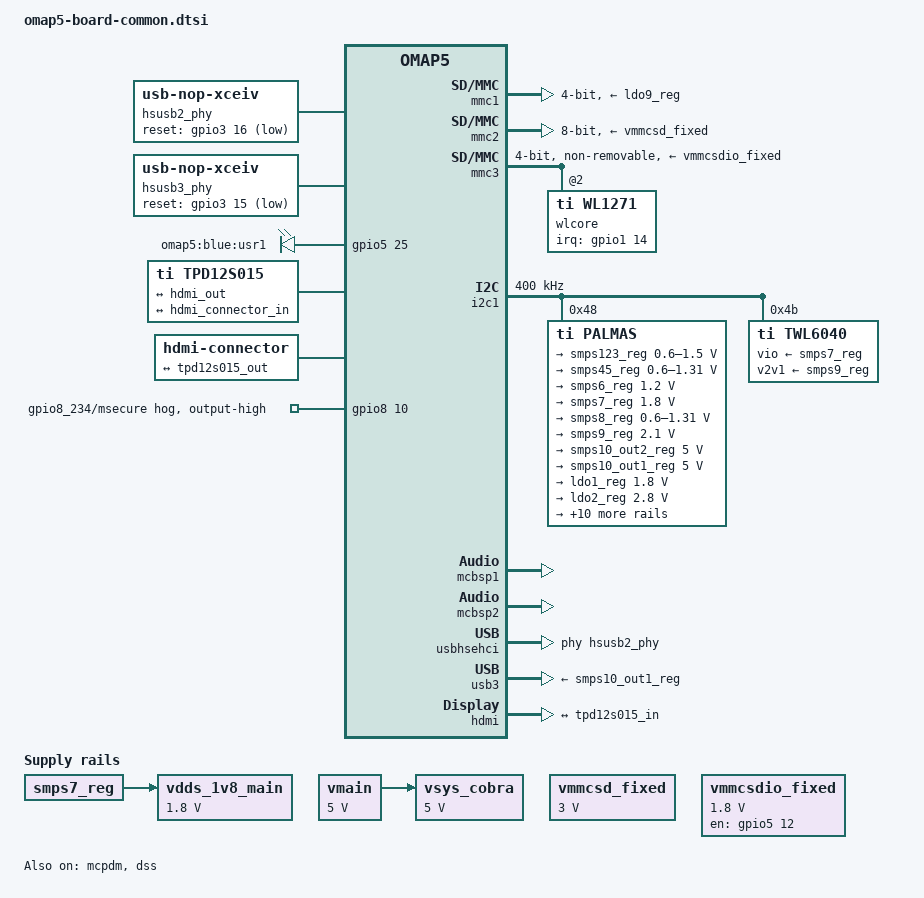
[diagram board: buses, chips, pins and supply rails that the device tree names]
/*
 * Copyright (C) 2013 Texas Instruments Incorporated - http://www.ti.com/
 *
 * This program is free software; you can redistribute it and/or modify
 * it under the terms of the GNU General Public License version 2 as
 * published by the Free Software Foundation.
 */
#include "omap5.dtsi"
#include <dt-bindings/interrupt-controller/irq.h>
#include <dt-bindings/interrupt-controller/arm-gic.h>

/ {
	aliases {
		display0 = &hdmi0;
	};

	vmain: fixedregulator-vmain {
		compatible = "regulator-fixed";
		regulator-name = "vmain";
		regulator-min-microvolt = <5000000>;
		regulator-max-microvolt = <5000000>;
	};

	vsys_cobra: fixedregulator-vsys_cobra {
		compatible = "regulator-fixed";
		regulator-name = "vsys_cobra";
		vin-supply = <&vmain>;
		regulator-min-microvolt = <5000000>;
		regulator-max-microvolt = <5000000>;
	};

	vdds_1v8_main: fixedregulator-vdds_1v8_main {
		compatible = "regulator-fixed";
		regulator-name = "vdds_1v8_main";
		vin-supply = <&smps7_reg>;
		regulator-min-microvolt = <1800000>;
		regulator-max-microvolt = <1800000>;
	};

	vmmcsd_fixed: fixedregulator-mmcsd {
		compatible = "regulator-fixed";
		regulator-name = "vmmcsd_fixed";
		regulator-min-microvolt = <3000000>;
		regulator-max-microvolt = <3000000>;
	};

	mmc3_pwrseq: sdhci0_pwrseq {
		compatible = "mmc-pwrseq-simple";
		clocks = <&clk32kgaudio>;
		clock-names = "ext_clock";
	};

	vmmcsdio_fixed: fixedregulator-mmcsdio {
		compatible = "regulator-fixed";
		regulator-name = "vmmcsdio_fixed";
		regulator-min-microvolt = <1800000>;
		regulator-max-microvolt = <1800000>;
		gpio = <&gpio5 12 GPIO_ACTIVE_HIGH>;	/* gpio140 WLAN_EN */
		enable-active-high;
		startup-delay-us = <70000>;
		pinctrl-names = "default";
		pinctrl-0 = <&wlan_pins>;
	};

	/* HS USB Host PHY on PORT 2 */
	hsusb2_phy: hsusb2_phy {
		compatible = "usb-nop-xceiv";
		reset-gpios = <&gpio3 16 GPIO_ACTIVE_LOW>; /* gpio3_80 HUB_NRESET */
		clocks = <&auxclk1_ck>;
		clock-names = "main_clk";
		clock-frequency = <19200000>;
	};

	/* HS USB Host PHY on PORT 3 */
	hsusb3_phy: hsusb3_phy {
		compatible = "usb-nop-xceiv";
		reset-gpios = <&gpio3 15 GPIO_ACTIVE_LOW>; /* gpio3_79 ETH_NRESET */
	};

	leds {
		compatible = "gpio-leds";
		led@1 {
			label = "omap5:blue:usr1";
			gpios = <&gpio5 25 GPIO_ACTIVE_HIGH>; /* gpio5_153 D1 LED */
			linux,default-trigger = "heartbeat";
			default-state = "off";
		};
	};

	tpd12s015: encoder@0 {
		compatible = "ti,tpd12s015";

		pinctrl-names = "default";
		pinctrl-0 = <&tpd12s015_pins>;

		/* gpios defined in the board specific dts */

		ports {
			#address-cells = <1>;
			#size-cells = <0>;

			port@0 {
				reg = <0>;

				tpd12s015_in: endpoint@0 {
					remote-endpoint = <&hdmi_out>;
				};
			};

			port@1 {
				reg = <1>;

				tpd12s015_out: endpoint@0 {
					remote-endpoint = <&hdmi_connector_in>;
				};
			};
		};
	};

	hdmi0: connector@0 {
		compatible = "hdmi-connector";
		label = "hdmi";

		type = "b";

		port {
			hdmi_connector_in: endpoint {
				remote-endpoint = <&tpd12s015_out>;
			};
		};
	};

	sound: sound {
		compatible = "ti,abe-twl6040";
		ti,model = "omap5-uevm";

		ti,mclk-freq = <19200000>;

		ti,mcpdm = <&mcpdm>;

		ti,twl6040 = <&twl6040>;

		/* Audio routing */
		ti,audio-routing =
			"Headset Stereophone", "HSOL",
			"Headset Stereophone", "HSOR",
			"Line Out", "AUXL",
			"Line Out", "AUXR",
			"HSMIC", "Headset Mic",
			"Headset Mic", "Headset Mic Bias",
			"AFML", "Line In",
			"AFMR", "Line In";
	};
};

&gpio8 {
	/* TI trees use GPIO instead of msecure, see also muxing */
	p234 {
		gpio-hog;
		gpios = <10 GPIO_ACTIVE_HIGH>;
		output-high;
		line-name = "gpio8_234/msecure";
	};
};

&omap5_pmx_core {
	pinctrl-names = "default";
	pinctrl-0 = <
			&usbhost_pins
			&led_gpio_pins
	>;

	twl6040_pins: pinmux_twl6040_pins {
		pinctrl-single,pins = <
			OMAP5_IOPAD(0x1be, PIN_OUTPUT | MUX_MODE6)	/* mcspi1_somi.gpio5_141 */
		>;
	};

	mcpdm_pins: pinmux_mcpdm_pins {
		pinctrl-single,pins = <
			OMAP5_IOPAD(0x182, PIN_INPUT_PULLDOWN | MUX_MODE0)	/* abe_clks.abe_clks */
			OMAP5_IOPAD(0x19c, PIN_INPUT_PULLDOWN | MUX_MODE0)	/* abemcpdm_ul_data.abemcpdm_ul_data */
			OMAP5_IOPAD(0x19e, PIN_INPUT_PULLDOWN | MUX_MODE0)	/* abemcpdm_dl_data.abemcpdm_dl_data */
			OMAP5_IOPAD(0x1a0, PIN_INPUT_PULLUP | MUX_MODE0)	/* abemcpdm_frame.abemcpdm_frame */
			OMAP5_IOPAD(0x1a2, PIN_INPUT_PULLDOWN | MUX_MODE0)	/* abemcpdm_lb_clk.abemcpdm_lb_clk */
		>;
	};

	mcbsp1_pins: pinmux_mcbsp1_pins {
		pinctrl-single,pins = <
			OMAP5_IOPAD(0x18c, PIN_INPUT | MUX_MODE1)		/* abedmic_clk2.abemcbsp1_fsx */
			OMAP5_IOPAD(0x18e, PIN_OUTPUT_PULLDOWN | MUX_MODE1)	/* abedmic_clk3.abemcbsp1_dx */
			OMAP5_IOPAD(0x190, PIN_INPUT | MUX_MODE1)		/* abeslimbus1_clock.abemcbsp1_clkx */
			OMAP5_IOPAD(0x192, PIN_INPUT_PULLDOWN | MUX_MODE1)	/* abeslimbus1_data.abemcbsp1_dr */
		>;
	};

	mcbsp2_pins: pinmux_mcbsp2_pins {
		pinctrl-single,pins = <
			OMAP5_IOPAD(0x194, PIN_INPUT_PULLDOWN | MUX_MODE0)	/* abemcbsp2_dr.abemcbsp2_dr */
			OMAP5_IOPAD(0x196, PIN_OUTPUT_PULLDOWN | MUX_MODE0)	/* abemcbsp2_dx.abemcbsp2_dx */
			OMAP5_IOPAD(0x198, PIN_INPUT | MUX_MODE0)		/* abemcbsp2_fsx.abemcbsp2_fsx */
			OMAP5_IOPAD(0x19a, PIN_INPUT | MUX_MODE0)		/* abemcbsp2_clkx.abemcbsp2_clkx */
		>;
	};

	i2c1_pins: pinmux_i2c1_pins {
		pinctrl-single,pins = <
			OMAP5_IOPAD(0x1f2, PIN_INPUT_PULLUP | MUX_MODE0)	/* i2c1_scl */
			OMAP5_IOPAD(0x1f4, PIN_INPUT_PULLUP | MUX_MODE0)	/* i2c1_sda */
		>;
	};

	mcspi2_pins: pinmux_mcspi2_pins {
		pinctrl-single,pins = <
			OMAP5_IOPAD(0x0fc, PIN_INPUT | MUX_MODE0)		/*  mcspi2_clk */
			OMAP5_IOPAD(0x0fe, PIN_INPUT | MUX_MODE0)		/*  mcspi2_simo */
			OMAP5_IOPAD(0x100, PIN_INPUT_PULLUP | MUX_MODE0)	/*  mcspi2_somi */
			OMAP5_IOPAD(0x102, PIN_OUTPUT | MUX_MODE0)		/*  mcspi2_cs0 */
		>;
	};

	mcspi3_pins: pinmux_mcspi3_pins {
		pinctrl-single,pins = <
			OMAP5_IOPAD(0x0b8, PIN_INPUT | MUX_MODE1)		/*  mcspi3_somi */
			OMAP5_IOPAD(0x0ba, PIN_INPUT | MUX_MODE1)		/*  mcspi3_cs0 */
			OMAP5_IOPAD(0x0bc, PIN_INPUT | MUX_MODE1)		/*  mcspi3_simo */
			OMAP5_IOPAD(0x0be, PIN_INPUT | MUX_MODE1)		/*  mcspi3_clk */
		>;
	};

	mmc3_pins: pinmux_mmc3_pins {
		pinctrl-single,pins = <
			OMAP5_IOPAD(0x01a4, PIN_INPUT_PULLUP | MUX_MODE0) /* wlsdio_clk */
			OMAP5_IOPAD(0x01a6, PIN_INPUT_PULLUP | MUX_MODE0) /* wlsdio_cmd */
			OMAP5_IOPAD(0x01a8, PIN_INPUT_PULLUP | MUX_MODE0) /* wlsdio_data0 */
			OMAP5_IOPAD(0x01aa, PIN_INPUT_PULLUP | MUX_MODE0) /* wlsdio_data1 */
			OMAP5_IOPAD(0x01ac, PIN_INPUT_PULLUP | MUX_MODE0) /* wlsdio_data2 */
			OMAP5_IOPAD(0x01ae, PIN_INPUT_PULLUP | MUX_MODE0) /* wlsdio_data3 */
		>;
	};

	wlan_pins: pinmux_wlan_pins {
		pinctrl-single,pins = <
			OMAP5_IOPAD(0x1bc, PIN_OUTPUT | MUX_MODE6) /* mcspi1_clk.gpio5_140 */
		>;
	};

	/* TI trees use GPIO mode; msecure mode does not work reliably? */
	palmas_msecure_pins: palmas_msecure_pins {
		pinctrl-single,pins = <
			OMAP5_IOPAD(0x180, PIN_OUTPUT | MUX_MODE6) /* gpio8_234 */
		>;
	};

	usbhost_pins: pinmux_usbhost_pins {
		pinctrl-single,pins = <
			OMAP5_IOPAD(0x0c4, PIN_INPUT | MUX_MODE0) /* usbb2_hsic_strobe */
			OMAP5_IOPAD(0x0c6, PIN_INPUT | MUX_MODE0) /* usbb2_hsic_data */

			OMAP5_IOPAD(0x1de, PIN_INPUT | MUX_MODE0) /* usbb3_hsic_strobe */
			OMAP5_IOPAD(0x1e0, PIN_INPUT | MUX_MODE0) /* usbb3_hsic_data */

			OMAP5_IOPAD(0x0b0, PIN_OUTPUT | MUX_MODE6) /* gpio3_80 HUB_NRESET */
			OMAP5_IOPAD(0x0ae, PIN_OUTPUT | MUX_MODE6) /* gpio3_79 ETH_NRESET */
		>;
	};

	led_gpio_pins: pinmux_led_gpio_pins {
		pinctrl-single,pins = <
			OMAP5_IOPAD(0x1d6, PIN_OUTPUT | MUX_MODE6) /* uart3_cts_rctx.gpio5_153 */
		>;
	};

	uart1_pins: pinmux_uart1_pins {
		pinctrl-single,pins = <
			OMAP5_IOPAD(0x0a0, PIN_OUTPUT | MUX_MODE0) /* uart1_tx.uart1_cts */
			OMAP5_IOPAD(0x0a2, PIN_INPUT_PULLUP | MUX_MODE0) /* uart1_tx.uart1_cts */
			OMAP5_IOPAD(0x0a4, PIN_INPUT_PULLUP | MUX_MODE0) /* uart1_rx.uart1_rts */
			OMAP5_IOPAD(0x0a6, PIN_OUTPUT | MUX_MODE0) /* uart1_rx.uart1_rts */
		>;
	};

	uart3_pins: pinmux_uart3_pins {
		pinctrl-single,pins = <
			OMAP5_IOPAD(0x1da, PIN_OUTPUT | MUX_MODE0) /* uart3_rts_irsd.uart3_tx_irtx */
			OMAP5_IOPAD(0x1dc, PIN_INPUT_PULLUP | MUX_MODE0) /* uart3_rx_irrx.uart3_usbb3_hsic */
		>;
	};

	uart5_pins: pinmux_uart5_pins {
		pinctrl-single,pins = <
			OMAP5_IOPAD(0x1b0, PIN_INPUT_PULLUP | MUX_MODE0) /* uart5_rx.uart5_rx */
			OMAP5_IOPAD(0x1b2, PIN_OUTPUT | MUX_MODE0) /* uart5_tx.uart5_tx */
			OMAP5_IOPAD(0x1b4, PIN_INPUT_PULLUP | MUX_MODE0) /* uart5_cts.uart5_rts */
			OMAP5_IOPAD(0x1b6, PIN_OUTPUT | MUX_MODE0) /* uart5_cts.uart5_rts */
		>;
	};

	dss_hdmi_pins: pinmux_dss_hdmi_pins {
		pinctrl-single,pins = <
			OMAP5_IOPAD(0x13c, PIN_INPUT_PULLUP | MUX_MODE0)	/* hdmi_cec.hdmi_cec */
			OMAP5_IOPAD(0x140, PIN_INPUT | MUX_MODE0)	/* hdmi_ddc_scl.hdmi_ddc_scl */
			OMAP5_IOPAD(0x142, PIN_INPUT | MUX_MODE0)	/* hdmi_ddc_sda.hdmi_ddc_sda */
		>;
	};

	tpd12s015_pins: pinmux_tpd12s015_pins {
		pinctrl-single,pins = <
			OMAP5_IOPAD(0x13e, PIN_INPUT_PULLDOWN | MUX_MODE6)	/* hdmi_hpd.gpio7_193 */
		>;
	};
};

&omap5_pmx_wkup {
	pinctrl-names = "default";
	pinctrl-0 = <
			&usbhost_wkup_pins
	>;

	palmas_sys_nirq_pins: pinmux_palmas_sys_nirq_pins {
		pinctrl-single,pins = <
			OMAP5_IOPAD(0x068, PIN_INPUT_PULLUP | MUX_MODE0) /* sys_nirq1 */
		>;
	};

	usbhost_wkup_pins: pinmux_usbhost_wkup_pins {
		pinctrl-single,pins = <
			OMAP5_IOPAD(0x05a, PIN_OUTPUT | MUX_MODE0) /* fref_clk1_out, USB hub clk */
		>;
	};

	wlcore_irq_pin: pinmux_wlcore_irq_pin {
		pinctrl-single,pins = <
			OMAP5_IOPAD(0x40, PIN_INPUT_PULLUP | MUX_MODE6)	/* llia_wakereqin.gpio1_wk14 */
		>;
	};
};

&mmc1 {
	vmmc-supply = <&ldo9_reg>;
	bus-width = <4>;
};

&mmc2 {
	vmmc-supply = <&vmmcsd_fixed>;
	bus-width = <8>;
	ti,non-removable;
};

&mmc3 {
	vmmc-supply = <&vmmcsdio_fixed>;
	mmc-pwrseq = <&mmc3_pwrseq>;
	bus-width = <4>;
	non-removable;
	cap-power-off-card;
	pinctrl-names = "default";
	pinctrl-0 = <&mmc3_pins &wlcore_irq_pin>;
	interrupts-extended = <&gic GIC_SPI 94 IRQ_TYPE_LEVEL_HIGH
			       &omap5_pmx_core 0x168>;

	#address-cells = <1>;
	#size-cells = <0>;
	wlcore: wlcore@2 {
		compatible = "ti,wl1271";
		reg = <2>;
		interrupt-parent = <&gpio1>;
		interrupts = <14 IRQ_TYPE_LEVEL_HIGH>;	/* gpio 14 */
		ref-clock-frequency = <26000000>;
	};
};

&mmc4 {
	status = "disabled";
};

&mmc5 {
	status = "disabled";
};

&i2c1 {
	pinctrl-names = "default";
	pinctrl-0 = <&i2c1_pins>;

	clock-frequency = <400000>;

	palmas: palmas@48 {
		compatible = "ti,palmas";
		interrupts = <GIC_SPI 7 IRQ_TYPE_NONE>; /* IRQ_SYS_1N */
		reg = <0x48>;
		interrupt-controller;
		#interrupt-cells = <2>;
		ti,system-power-controller;
		pinctrl-names = "default";
		pinctrl-0 = <&palmas_sys_nirq_pins &palmas_msecure_pins>;

		extcon_usb3: palmas_usb {
			compatible = "ti,palmas-usb-vid";
			ti,enable-vbus-detection;
			ti,enable-id-detection;
			ti,wakeup;
		};

		clk32kgaudio: palmas_clk32k@1 {
			compatible = "ti,palmas-clk32kgaudio";
			#clock-cells = <0>;
		};

		rtc {
			compatible = "ti,palmas-rtc";
			interrupt-parent = <&palmas>;
			interrupts = <8 IRQ_TYPE_NONE>;
			ti,backup-battery-chargeable;
			ti,backup-battery-charge-high-current;
		};

		gpadc {
			compatible = "ti,palmas-gpadc";
			interrupts = <18 0
				      16 0
				      17 0>;
			#io-channel-cells = <1>;
			ti,channel0-current-microamp = <5>;
			ti,channel3-current-microamp = <10>;
		};

		palmas_pmic {
			compatible = "ti,palmas-pmic";
			interrupt-parent = <&palmas>;
			interrupts = <14 IRQ_TYPE_NONE>;
			interrupt-names = "short-irq";

			ti,ldo6-vibrator;

			smps123-in-supply = <&vsys_cobra>;
			smps45-in-supply = <&vsys_cobra>;
			smps6-in-supply = <&vsys_cobra>;
			smps7-in-supply = <&vsys_cobra>;
			smps8-in-supply = <&vsys_cobra>;
			smps9-in-supply = <&vsys_cobra>;
			smps10_out2-in-supply = <&vsys_cobra>;
			smps10_out1-in-supply = <&vsys_cobra>;
			ldo1-in-supply = <&vsys_cobra>;
			ldo2-in-supply = <&vsys_cobra>;
			ldo3-in-supply = <&vdds_1v8_main>;
			ldo4-in-supply = <&vdds_1v8_main>;
			ldo5-in-supply = <&vsys_cobra>;
			ldo6-in-supply = <&vdds_1v8_main>;
			ldo7-in-supply = <&vsys_cobra>;
			ldo8-in-supply = <&vsys_cobra>;
			ldo9-in-supply = <&vmmcsd_fixed>;
			ldoln-in-supply = <&vsys_cobra>;
			ldousb-in-supply = <&vsys_cobra>;

			regulators {
				smps123_reg: smps123 {
					/* VDD_OPP_MPU */
					regulator-name = "smps123";
					regulator-min-microvolt = < 600000>;
					regulator-max-microvolt = <1500000>;
					regulator-always-on;
					regulator-boot-on;
				};

				smps45_reg: smps45 {
					/* VDD_OPP_MM */
					regulator-name = "smps45";
					regulator-min-microvolt = < 600000>;
					regulator-max-microvolt = <1310000>;
					regulator-always-on;
					regulator-boot-on;
				};

				smps6_reg: smps6 {
					/* VDD_DDR3 - over VDD_SMPS6 */
					regulator-name = "smps6";
					regulator-min-microvolt = <1200000>;
					regulator-max-microvolt = <1200000>;
					regulator-always-on;
					regulator-boot-on;
				};

				smps7_reg: smps7 {
					/* VDDS_1v8_OMAP over VDDS_1v8_MAIN */
					regulator-name = "smps7";
					regulator-min-microvolt = <1800000>;
					regulator-max-microvolt = <1800000>;
					regulator-always-on;
					regulator-boot-on;
				};

				smps8_reg: smps8 {
					/* VDD_OPP_CORE */
					regulator-name = "smps8";
					regulator-min-microvolt = < 600000>;
					regulator-max-microvolt = <1310000>;
					regulator-always-on;
					regulator-boot-on;
				};

				smps9_reg: smps9 {
					/* VDDA_2v1_AUD over VDD_2v1 */
					regulator-name = "smps9";
					regulator-min-microvolt = <2100000>;
					regulator-max-microvolt = <2100000>;
					ti,smps-range = <0x80>;
				};

				smps10_out2_reg: smps10_out2 {
					/* VBUS_5V_OTG */
					regulator-name = "smps10_out2";
					regulator-min-microvolt = <5000000>;
					regulator-max-microvolt = <5000000>;
					regulator-always-on;
					regulator-boot-on;
				};

				smps10_out1_reg: smps10_out1 {
					/* VBUS_5V_OTG */
					regulator-name = "smps10_out1";
					regulator-min-microvolt = <5000000>;
					regulator-max-microvolt = <5000000>;
				};

				ldo1_reg: ldo1 {
					/* VDDAPHY_CAM: vdda_csiport */
					regulator-name = "ldo1";
					regulator-min-microvolt = <1800000>;
					regulator-max-microvolt = <1800000>;
				};

				ldo2_reg: ldo2 {
					/* VCC_2V8_DISP: Does not go anywhere */
					regulator-name = "ldo2";
					regulator-min-microvolt = <2800000>;
					regulator-max-microvolt = <2800000>;
					/* Unused */
					status = "disabled";
				};

				ldo3_reg: ldo3 {
					/* VDDAPHY_MDM: vdda_lli */
					regulator-name = "ldo3";
					regulator-min-microvolt = <1500000>;
					regulator-max-microvolt = <1500000>;
					regulator-boot-on;
					/* Only if Modem is used */
					status = "disabled";
				};

				ldo4_reg: ldo4 {
					/* VDDAPHY_DISP: vdda_dsiport/hdmi */
					regulator-name = "ldo4";
					regulator-min-microvolt = <1800000>;
					regulator-max-microvolt = <1800000>;
				};

				ldo5_reg: ldo5 {
					/* VDDA_1V8_PHY: usb/sata/hdmi.. */
					regulator-name = "ldo5";
					regulator-min-microvolt = <1800000>;
					regulator-max-microvolt = <1800000>;
					regulator-always-on;
					regulator-boot-on;
				};

				ldo6_reg: ldo6 {
					/* VDDS_1V2_WKUP: hsic/ldo_emu_wkup */
					regulator-name = "ldo6";
					regulator-min-microvolt = <1200000>;
					regulator-max-microvolt = <1200000>;
					regulator-always-on;
					regulator-boot-on;
				};

				ldo7_reg: ldo7 {
					/* VDD_VPP: vpp1 */
					regulator-name = "ldo7";
					regulator-min-microvolt = <2000000>;
					regulator-max-microvolt = <2000000>;
					/* Only for efuse reprograming! */
					status = "disabled";
				};

				ldo8_reg: ldo8 {
					/* VDD_3v0: Does not go anywhere */
					regulator-name = "ldo8";
					regulator-min-microvolt = <3000000>;
					regulator-max-microvolt = <3000000>;
					regulator-boot-on;
					/* Unused */
					status = "disabled";
				};

				ldo9_reg: ldo9 {
					/* VCC_DV_SDIO: vdds_sdcard */
					regulator-name = "ldo9";
					regulator-min-microvolt = <1800000>;
					regulator-max-microvolt = <3000000>;
					regulator-boot-on;
				};

				ldoln_reg: ldoln {
					/* VDDA_1v8_REF: vdds_osc/mm_l4per.. */
					regulator-name = "ldoln";
					regulator-min-microvolt = <1800000>;
					regulator-max-microvolt = <1800000>;
					regulator-always-on;
					regulator-boot-on;
				};

				ldousb_reg: ldousb {
					/* VDDA_3V_USB: VDDA_USBHS33 */
					regulator-name = "ldousb";
					regulator-min-microvolt = <3250000>;
					regulator-max-microvolt = <3250000>;
					regulator-always-on;
					regulator-boot-on;
				};

				regen3_reg: regen3 {
					/* REGEN3 controls LDO9 supply to card */
					regulator-name = "regen3";
					regulator-always-on;
					regulator-boot-on;
				};
			};
		};

		palmas_power_button: palmas_power_button {
			compatible = "ti,palmas-pwrbutton";
			interrupt-parent = <&palmas>;
			interrupts = <1 IRQ_TYPE_EDGE_FALLING>;
			wakeup-source;
		};
	};

	twl6040: twl@4b {
		compatible = "ti,twl6040";
		reg = <0x4b>;

		pinctrl-names = "default";
		pinctrl-0 = <&twl6040_pins>;

		interrupts = <GIC_SPI 119 IRQ_TYPE_NONE>; /* IRQ_SYS_2N cascaded to gic */

		/* audpwron gpio defined in the board specific dts */

		vio-supply = <&smps7_reg>;
		v2v1-supply = <&smps9_reg>;
		enable-active-high;

		clocks = <&clk32kgaudio>;
		clock-names = "clk32k";
	};
};

&mcpdm {
	pinctrl-names = "default";
	pinctrl-0 = <&mcpdm_pins>;
	status = "okay";
};

&mcbsp1 {
	pinctrl-names = "default";
	pinctrl-0 = <&mcbsp1_pins>;
	status = "okay";
};

&mcbsp2 {
	pinctrl-names = "default";
	pinctrl-0 = <&mcbsp2_pins>;
	status = "okay";
};

&usbhshost {
	port2-mode = "ehci-hsic";
	port3-mode = "ehci-hsic";
};

&usbhsehci {
	phys = <0 &hsusb2_phy &hsusb3_phy>;
};

&usb3 {
	extcon = <&extcon_usb3>;
	vbus-supply = <&smps10_out1_reg>;
};

&mcspi1 {

};

&mcspi2 {
	pinctrl-names = "default";
	pinctrl-0 = <&mcspi2_pins>;
};

&mcspi3 {
	pinctrl-names = "default";
	pinctrl-0 = <&mcspi3_pins>;
};

&uart1 {
	pinctrl-names = "default";
	pinctrl-0 = <&uart1_pins>;
};

&uart3 {
	pinctrl-names = "default";
	pinctrl-0 = <&uart3_pins>;
	interrupts-extended = <&wakeupgen GIC_SPI 74 IRQ_TYPE_LEVEL_HIGH>,
			      <&omap5_pmx_core 0x19c>;
};

&uart5 {
	pinctrl-names = "default";
	pinctrl-0 = <&uart5_pins>;
};

&cpu0 {
	cpu0-supply = <&smps123_reg>;
};

&dss {
	status = "ok";
};

&hdmi {
	status = "ok";

	/* vdda-supply populated in board specific dts file */

	pinctrl-names = "default";
	pinctrl-0 = <&dss_hdmi_pins>;

	port {
		hdmi_out: endpoint {
			remote-endpoint = <&tpd12s015_in>;
		};
	};
};
